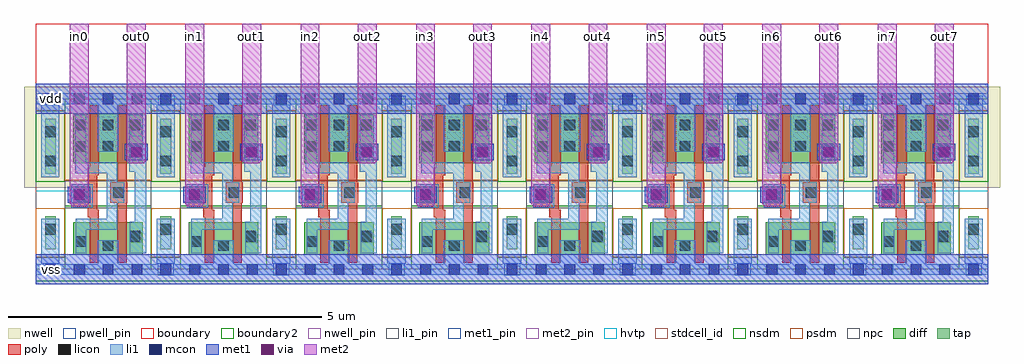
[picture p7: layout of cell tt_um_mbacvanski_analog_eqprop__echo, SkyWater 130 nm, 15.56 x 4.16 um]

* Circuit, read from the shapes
.subckt tt_um_mbacvanski_analog_eqprop__echo in0 in1 in2 in3 in4 in5 in6 in7 out0 out1 out2 out3 out4 out5 out6 out7 vdd vss
XM1 vss in0 n1 vss sky130_fd_pr__nfet_01v8 w=0.52 l=0.15
XM2 out0 n1 vss vss sky130_fd_pr__nfet_01v8 w=0.52 l=0.15
XM3 vss in1 n2 vss sky130_fd_pr__nfet_01v8 w=0.52 l=0.15
XM4 out1 n2 vss vss sky130_fd_pr__nfet_01v8 w=0.52 l=0.15
XM5 vss in2 n3 vss sky130_fd_pr__nfet_01v8 w=0.52 l=0.15
XM6 out2 n3 vss vss sky130_fd_pr__nfet_01v8 w=0.52 l=0.15
XM7 vss in3 n4 vss sky130_fd_pr__nfet_01v8 w=0.52 l=0.15
XM8 out3 n4 vss vss sky130_fd_pr__nfet_01v8 w=0.52 l=0.15
XM9 vss in4 n5 vss sky130_fd_pr__nfet_01v8 w=0.52 l=0.15
XM10 out4 n5 vss vss sky130_fd_pr__nfet_01v8 w=0.52 l=0.15
XM11 vss in5 n6 vss sky130_fd_pr__nfet_01v8 w=0.52 l=0.15
XM12 out5 n6 vss vss sky130_fd_pr__nfet_01v8 w=0.52 l=0.15
XM13 vss in6 n7 vss sky130_fd_pr__nfet_01v8 w=0.52 l=0.15
XM14 out6 n7 vss vss sky130_fd_pr__nfet_01v8 w=0.52 l=0.15
XM15 vss in7 n8 vss sky130_fd_pr__nfet_01v8 w=0.52 l=0.15
XM16 out7 n8 vss vss sky130_fd_pr__nfet_01v8 w=0.52 l=0.15
XM17 vdd in0 n1 vdd sky130_fd_pr__pfet_01v8_hvt w=0.79 l=0.15
XM18 out0 n1 vdd vdd sky130_fd_pr__pfet_01v8_hvt w=0.79 l=0.15
XM19 vdd in1 n2 vdd sky130_fd_pr__pfet_01v8_hvt w=0.79 l=0.15
XM20 out1 n2 vdd vdd sky130_fd_pr__pfet_01v8_hvt w=0.79 l=0.15
XM21 vdd in2 n3 vdd sky130_fd_pr__pfet_01v8_hvt w=0.79 l=0.15
XM22 out2 n3 vdd vdd sky130_fd_pr__pfet_01v8_hvt w=0.79 l=0.15
XM23 vdd in3 n4 vdd sky130_fd_pr__pfet_01v8_hvt w=0.79 l=0.15
XM24 out3 n4 vdd vdd sky130_fd_pr__pfet_01v8_hvt w=0.79 l=0.15
XM25 vdd in4 n5 vdd sky130_fd_pr__pfet_01v8_hvt w=0.79 l=0.15
XM26 out4 n5 vdd vdd sky130_fd_pr__pfet_01v8_hvt w=0.79 l=0.15
XM27 vdd in5 n6 vdd sky130_fd_pr__pfet_01v8_hvt w=0.79 l=0.15
XM28 out5 n6 vdd vdd sky130_fd_pr__pfet_01v8_hvt w=0.79 l=0.15
XM29 vdd in6 n7 vdd sky130_fd_pr__pfet_01v8_hvt w=0.79 l=0.15
XM30 out6 n7 vdd vdd sky130_fd_pr__pfet_01v8_hvt w=0.79 l=0.15
XM31 vdd in7 n8 vdd sky130_fd_pr__pfet_01v8_hvt w=0.79 l=0.15
XM32 out7 n8 vdd vdd sky130_fd_pr__pfet_01v8_hvt w=0.79 l=0.15
.ends

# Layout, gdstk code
import gdstk
lib = gdstk.Library(unit=1e-6, precision=1e-09)
def R(c, l, rs):  # rectangles x0, y0, x1, y1
    for r in rs: c.add(gdstk.rectangle(r[:2], r[2:], *l))
def A(c, l, x, y, w, h, nx, ny, dx, dy):  # array of equal rectangles
    R(c, l, [(x+i*dx, y+j*dy, x+i*dx+w, y+j*dy+h) for i in range(nx) for j in range(ny)])
def P(c, l, *ps):  # polygons
    for p in ps: c.add(gdstk.Polygon(p, *l))
nwell_pin = (64, 16)
nwell = (64, 20)
diff = (65, 20)
tap = (65, 44)
poly = (66, 20)
licon = (66, 44)
li1_pin = (67, 16)
li1 = (67, 20)
mcon = (67, 44)
met1_pin = (68, 16)
met1 = (68, 20)
via = (68, 44)
met2_pin = (69, 16)
met2 = (69, 20)
hvtp = (78, 44)
stdcell_id = (81, 4)
nsdm = (93, 44)
psdm = (94, 20)
npc = (95, 20)
pwell_pin = (122, 16)
boundary = (235, 4)
boundary2 = (236, 0)

sky130_fd_sc_hd__tapvpwr = lib.new_cell('sky130_fd_sc_hd__tapvpwrvgnd_1')
R(sky130_fd_sc_hd__tapvpwr, nwell, [(-0.19,1.305,0.65,2.91)])
R(sky130_fd_sc_hd__tapvpwr, tap, [(0.145,0.32,0.315,0.845), (0.145,1.525,0.315,2.4)])
R(sky130_fd_sc_hd__tapvpwr, licon, [(0.145,0.555,0.315,0.725), (0.145,1.645,0.315,1.815), (0.145,2.11,0.315,2.28)])
R(sky130_fd_sc_hd__tapvpwr, li1, [(0,-0.085,0.46,0.085), (0.085,0,0.375,0.81), (0.085,1.47,0.375,2.72), (0,2.635,0.46,2.805)])
R(sky130_fd_sc_hd__tapvpwr, mcon, [(0.145,-0.085,0.315,0.085), (0.145,2.635,0.315,2.805)])
R(sky130_fd_sc_hd__tapvpwr, met1_pin, [(0.105,-0.09,0.36,0.1), (0.11,2.62,0.375,2.765)])
R(sky130_fd_sc_hd__tapvpwr, met1, [(0,-0.24,0.46,0.24), (0,2.48,0.46,2.96)])
R(sky130_fd_sc_hd__tapvpwr, hvtp, [(0,1.25,0.46,2.72)])
R(sky130_fd_sc_hd__tapvpwr, stdcell_id, [(0,0,0.46,2.72)])
R(sky130_fd_sc_hd__tapvpwr, nsdm, [(0,-0.19,0.46,0.19), (0,1.395,0.46,2.53)])
R(sky130_fd_sc_hd__tapvpwr, psdm, [(0,0.19,0.46,0.975), (0,2.53,0.46,2.91)])
sky130_fd_sc_hd__tapvpwr.add(gdstk.Label('VGND', (0.23,0), layer=68, texttype=5))
sky130_fd_sc_hd__tapvpwr.add(gdstk.Label('VPWR', (0.23,2.72), layer=68, texttype=5))
sky130_fd_sc_hd__tapvpwr.add(gdstk.Label('tapvpwrvgnd_1', (0,0), layer=83, texttype=44))

sky130_fd_sc_hd__buf_1 = lib.new_cell('sky130_fd_sc_hd__buf_1')
R(sky130_fd_sc_hd__buf_1, nwell_pin, [(0.145,2.635,0.315,2.805)])
R(sky130_fd_sc_hd__buf_1, nwell, [(-0.19,1.305,1.57,2.91)])
R(sky130_fd_sc_hd__buf_1, diff, [(0.135,0.235,1.245,0.755), (0.135,1.695,1.245,2.485)])
P(sky130_fd_sc_hd__buf_1, poly, [(0.395,0.105),(0.395,0.83),(0.365,0.83),(0.365,0.995),(0.135,0.995),(0.135,1.325),(0.365,1.325),(0.365,1.62),(0.395,1.62),(0.395,2.615),(0.545,2.615),(0.545,1.5),(0.515,1.5),(0.515,0.95),(0.545,0.95),(0.545,0.105)],
  [(0.835,0.105),(0.835,1.06),(0.725,1.06),(0.725,1.39),(0.835,1.39),(0.835,2.615),(0.985,2.615),(0.985,1.39),(0.995,1.39),(0.995,1.06),(0.985,1.06),(0.985,0.105)])
A(sky130_fd_sc_hd__buf_1, licon, 0.175, 2.215, 0.17, 0.17, 3, 1, 0.43, 0)
R(sky130_fd_sc_hd__buf_1, licon, [(0.605,0.295,0.775,0.465), (0.175,0.36,0.345,0.53), (1.035,0.445,1.205,0.615), (0.185,1.075,0.355,1.245), (0.775,1.14,0.945,1.31), (1.035,1.81,1.205,1.98), (0.175,1.875,0.345,2.045), (0.605,1.875,0.775,2.045)])
R(sky130_fd_sc_hd__buf_1, li1_pin, [(0.155,-0.085,0.325,0.085), (1.055,0.425,1.225,0.595), (0.145,1.105,0.315,1.275), (1.055,1.785,1.225,1.955), (1.055,2.125,1.225,2.295), (0.145,2.635,0.315,2.805)])
R(sky130_fd_sc_hd__buf_1, li1, [(0.105,0.985,0.445,1.355)])
P(sky130_fd_sc_hd__buf_1, li1, [(0.525,1.875),(0.525,2.635),(0,2.635),(0,2.805),(1.38,2.805),(1.38,2.635),(0.855,2.635),(0.855,1.875)],
  [(0.175,0.255),(0.175,0.805),(0.67,0.805),(0.67,1.535),(0.165,1.535),(0.165,2.465),(0.345,2.465),(0.345,1.705),(0.84,1.705),(0.84,1.39),(0.945,1.39),(0.945,1.06),(0.84,1.06),(0.84,0.635),(0.345,0.635),(0.345,0.255)],
  [(0,-0.085),(0,0.085),(0.525,0.085),(0.525,0.465),(0.855,0.465),(0.855,0.085),(1.38,0.085),(1.38,-0.085)],
  [(1.035,0.255),(1.035,0.76),(1.115,0.76),(1.115,1.56),(1.025,1.56),(1.025,2.465),(1.295,2.465),(1.295,0.255)])
A(sky130_fd_sc_hd__buf_1, mcon, 0.145, -0.085, 0.17, 0.17, 3, 2, 0.46, 2.72)
R(sky130_fd_sc_hd__buf_1, met1_pin, [(0.155,-0.085,0.325,0.085), (0.145,2.635,0.315,2.805)])
R(sky130_fd_sc_hd__buf_1, hvtp, [(0,1.25,1.38,2.72)])
R(sky130_fd_sc_hd__buf_1, stdcell_id, [(0,0,1.38,2.72)])
R(sky130_fd_sc_hd__buf_1, nsdm, [(0,-0.19,1.38,1.015)])
R(sky130_fd_sc_hd__buf_1, psdm, [(0,1.42,1.38,2.91)])
R(sky130_fd_sc_hd__buf_1, npc, [(0,0.975,1.38,1.41)])
R(sky130_fd_sc_hd__buf_1, pwell_pin, [(0.155,-0.085,0.325,0.085)])
R(sky130_fd_sc_hd__buf_1, boundary2, [(0,0,1.38,2.72)])
sky130_fd_sc_hd__buf_1.add(gdstk.FlexPath([(0,0),(1.38,0)], 0.48, ends="flush", simple_path=True, layer=68, datatype=20))  # met1
sky130_fd_sc_hd__buf_1.add(gdstk.FlexPath([(0,2.72),(1.38,2.72)], 0.48, ends="flush", simple_path=True, layer=68, datatype=20))  # met1
sky130_fd_sc_hd__buf_1.add(gdstk.Label('A', (0.23,1.19), layer=67, texttype=5))
sky130_fd_sc_hd__buf_1.add(gdstk.Label('X', (1.14,0.51), layer=67, texttype=5))
sky130_fd_sc_hd__buf_1.add(gdstk.Label('X', (1.14,1.87), layer=67, texttype=5))
sky130_fd_sc_hd__buf_1.add(gdstk.Label('X', (1.14,2.21), layer=67, texttype=5))
sky130_fd_sc_hd__buf_1.add(gdstk.Label('VGND', (0.23,0), layer=67, texttype=5))
sky130_fd_sc_hd__buf_1.add(gdstk.Label('VPWR', (0.23,2.72), layer=67, texttype=5))
sky130_fd_sc_hd__buf_1.add(gdstk.Label('VPWR', (0.23,2.72), layer=68, texttype=5))
sky130_fd_sc_hd__buf_1.add(gdstk.Label('VGND', (0.23,0), layer=68, texttype=5))
sky130_fd_sc_hd__buf_1.add(gdstk.Label('buf_1', (0,0), layer=83, texttype=44))
sky130_fd_sc_hd__buf_1.add(gdstk.Label('VPB', (0.23,2.72), layer=64, texttype=5))
sky130_fd_sc_hd__buf_1.add(gdstk.Label('VNB', (0.23,0), layer=64, texttype=59))

tt_um_mbacvanski_analog_ = lib.new_cell('tt_um_mbacvanski_analog_eqprop__echo')
A(tt_um_mbacvanski_analog_, li1, 0.605, 1.345, 0.17, 0.17, 8, 1, 1.84, 0)
A(tt_um_mbacvanski_analog_, li1, 1.515, 2.025, 0.17, 0.17, 8, 1, 1.84, 0)
A(tt_um_mbacvanski_analog_, mcon, 0.605, 1.345, 0.17, 0.17, 8, 1, 1.84, 0)
A(tt_um_mbacvanski_analog_, mcon, 1.515, 2.025, 0.17, 0.17, 8, 1, 1.84, 0)
R(tt_um_mbacvanski_analog_, met1_pin, [(0.2,0.19,0.3,0.29), (0.2,2.91,0.3,3.01)])
A(tt_um_mbacvanski_analog_, met1, 0.51, 1.3, 0.36, 0.26, 8, 1, 1.84, 0)
A(tt_um_mbacvanski_analog_, met1, 1.42, 1.98, 0.36, 0.26, 8, 1, 1.84, 0)
R(tt_um_mbacvanski_analog_, met1, [(0,0,15.18,0.48), (0,2.72,15.18,3.2)])
A(tt_um_mbacvanski_analog_, via, 0.615, 1.355, 0.15, 0.15, 8, 1, 1.84, 0)
A(tt_um_mbacvanski_analog_, via, 1.525, 2.035, 0.15, 0.15, 8, 1, 1.84, 0)
R(tt_um_mbacvanski_analog_, met2_pin, [(0.64,3.91,0.74,4.01), (1.55,3.91,1.65,4.01), (2.48,3.91,2.58,4.01), (3.39,3.91,3.49,4.01), (4.32,3.91,4.42,4.01), (5.23,3.91,5.33,4.01), (6.16,3.91,6.26,4.01), (7.07,3.91,7.17,4.01), (8,3.91,8.1,4.01), (8.91,3.91,9.01,4.01), (9.84,3.91,9.94,4.01), (10.75,3.91,10.85,4.01), (11.68,3.91,11.78,4.01), (12.59,3.91,12.69,4.01), (13.52,3.91,13.62,4.01), (14.43,3.91,14.53,4.01)])
A(tt_um_mbacvanski_analog_, met2, 0.56, 1.25, 0.26, 0.03, 8, 1, 1.84, 0)
A(tt_um_mbacvanski_analog_, met2, 0.54, 1.28, 0.3, 2.88, 8, 1, 1.84, 0)
A(tt_um_mbacvanski_analog_, met2, 1.47, 1.93, 0.26, 0.03, 8, 1, 1.84, 0)
A(tt_um_mbacvanski_analog_, met2, 1.45, 1.96, 0.3, 2.2, 8, 1, 1.84, 0)
R(tt_um_mbacvanski_analog_, boundary, [(0,0,15.18,4.16)])
tt_um_mbacvanski_analog_.add(gdstk.Reference(sky130_fd_sc_hd__tapvpwr, (14.72,0.24)))
tt_um_mbacvanski_analog_.add(gdstk.Reference(sky130_fd_sc_hd__buf_1, (13.34,0.24)))
tt_um_mbacvanski_analog_.add(gdstk.Reference(sky130_fd_sc_hd__tapvpwr, (12.88,0.24)))
tt_um_mbacvanski_analog_.add(gdstk.Reference(sky130_fd_sc_hd__buf_1, (11.5,0.24)))
tt_um_mbacvanski_analog_.add(gdstk.Reference(sky130_fd_sc_hd__tapvpwr, (0,0.24)))
tt_um_mbacvanski_analog_.add(gdstk.Reference(sky130_fd_sc_hd__buf_1, (0.46,0.24)))
tt_um_mbacvanski_analog_.add(gdstk.Reference(sky130_fd_sc_hd__buf_1, (4.14,0.24)))
tt_um_mbacvanski_analog_.add(gdstk.Reference(sky130_fd_sc_hd__buf_1, (2.3,0.24)))
tt_um_mbacvanski_analog_.add(gdstk.Reference(sky130_fd_sc_hd__tapvpwr, (3.68,0.24)))
tt_um_mbacvanski_analog_.add(gdstk.Reference(sky130_fd_sc_hd__tapvpwr, (5.52,0.24)))
tt_um_mbacvanski_analog_.add(gdstk.Reference(sky130_fd_sc_hd__buf_1, (5.98,0.24)))
tt_um_mbacvanski_analog_.add(gdstk.Reference(sky130_fd_sc_hd__tapvpwr, (7.36,0.24)))
tt_um_mbacvanski_analog_.add(gdstk.Reference(sky130_fd_sc_hd__buf_1, (7.82,0.24)))
tt_um_mbacvanski_analog_.add(gdstk.Reference(sky130_fd_sc_hd__tapvpwr, (9.2,0.24)))
tt_um_mbacvanski_analog_.add(gdstk.Reference(sky130_fd_sc_hd__tapvpwr, (1.84,0.24)))
tt_um_mbacvanski_analog_.add(gdstk.Reference(sky130_fd_sc_hd__buf_1, (9.66,0.24)))
tt_um_mbacvanski_analog_.add(gdstk.Reference(sky130_fd_sc_hd__tapvpwr, (11.04,0.24)))
tt_um_mbacvanski_analog_.add(gdstk.Label('vss', (0.25,0.24), layer=68, texttype=5))
tt_um_mbacvanski_analog_.add(gdstk.Label('vdd', (0.25,2.96), layer=68, texttype=5))
tt_um_mbacvanski_analog_.add(gdstk.Label('out7', (14.48,3.96), layer=69, texttype=5))
tt_um_mbacvanski_analog_.add(gdstk.Label('out5', (10.8,3.96), layer=69, texttype=5))
tt_um_mbacvanski_analog_.add(gdstk.Label('in0', (0.69,3.96), layer=69, texttype=5))
tt_um_mbacvanski_analog_.add(gdstk.Label('in1', (2.53,3.96), layer=69, texttype=5))
tt_um_mbacvanski_analog_.add(gdstk.Label('in3', (6.21,3.96), layer=69, texttype=5))
tt_um_mbacvanski_analog_.add(gdstk.Label('in4', (8.05,3.96), layer=69, texttype=5))
tt_um_mbacvanski_analog_.add(gdstk.Label('out2', (5.28,3.96), layer=69, texttype=5))
tt_um_mbacvanski_analog_.add(gdstk.Label('in5', (9.89,3.96), layer=69, texttype=5))
tt_um_mbacvanski_analog_.add(gdstk.Label('out6', (12.64,3.96), layer=69, texttype=5))
tt_um_mbacvanski_analog_.add(gdstk.Label('in6', (11.73,3.96), layer=69, texttype=5))
tt_um_mbacvanski_analog_.add(gdstk.Label('out0', (1.6,3.96), layer=69, texttype=5))
tt_um_mbacvanski_analog_.add(gdstk.Label('in7', (13.57,3.96), layer=69, texttype=5))
tt_um_mbacvanski_analog_.add(gdstk.Label('out1', (3.44,3.96), layer=69, texttype=5))
tt_um_mbacvanski_analog_.add(gdstk.Label('in2', (4.37,3.96), layer=69, texttype=5))
tt_um_mbacvanski_analog_.add(gdstk.Label('out3', (7.12,3.96), layer=69, texttype=5))
tt_um_mbacvanski_analog_.add(gdstk.Label('out4', (8.96,3.96), layer=69, texttype=5))

lib.write_gds('tt_um_mbacvanski_analog_eqprop__echo.gds')
